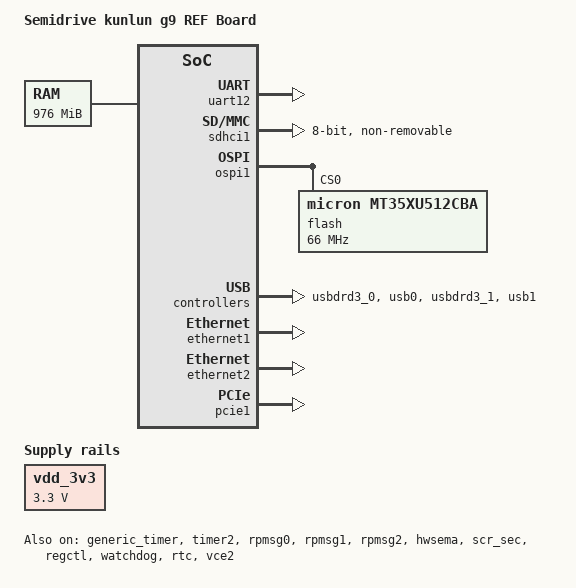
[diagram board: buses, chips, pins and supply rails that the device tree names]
/*
 * Semidrive G9 platform DTS file
 *
 * Copyright (C) 2019, Semidrive  Communications Inc.
 *
 * This file is licensed under a dual GPLv2 or X11 license.
 */

/dts-v1/;

#include "g9x_ap.dtsi"
#include "g9x_ref-clk-ctrl.dtsi"
#include <dt-bindings/pinctrl/pins-sdx9.h>
#include <dt-bindings/memmap/g9x/projects/default/image_cfg.h>
#include <dt-bindings/memory/sdrv_ion.h>
#include <dt-bindings/rpmsg/sd,g9x-default.h>

/ {
	model = "Semidrive kunlun g9 REF Board";

	compatible = "semidrive,kunlun";

	aliases {
		serial0 = &uart12;
		serial1 = &uart11;
		ethernet1 = &ethernet1;
		ethernet2 = &ethernet2;
	};

	memory@50000000 {
		device_type = "memory";
		reg = <0 0x43000000 0 0x3d000000>;
	};

	reserved-memory {
		#address-cells = <2>;
		#size-cells = <2>;
		ranges;

		/* Default Common CMA Pool */
		/* QUIRK: Must be kept in the lower 4096 MiBs of DRAM banks for VE */
		linux,cma {
			compatible = "shared-dma-pool";
			reusable;
			size = <0x0 0x1bc00000>;
			/* 4GB maximum in case of 32-bit only capable devices */
			alloc-ranges = <0x0 0x0 0x0 0xffffffff>;
			linux,cma-default;
		};

		rproc_0_safety: rproc@0 {
			compatible = "shared-dma-pool";
			no-map;
			reg = <0x0 RPMSG0_MEM_POOL_BASE 0x0 RPMSG0_MEM_POOL_SIZE>;
		};

		rproc_1_secure: rproc@1 {
			compatible = "shared-dma-pool";
			no-map;
			reg = <0x0 RPMSG1_MEM_POOL_BASE 0x0 RPMSG1_MEM_POOL_SIZE>;
		};

		rproc_2_mpc: rproc@2 {
				compatible = "shared-dma-pool";
				no-map;
				reg = <0x0 RPMSG2_MEM_POOL_BASE 0x0 RPMSG2_MEM_POOL_SIZE>;
		};
	};

	chosen {
		bootargs = "skip_initramfs noinitrd root=/dev/mmcblk0p8 rootfstype=ext4 rootwait rw init=/sbin/init highres=1 nr_cpus=1 earlycon loglevel=4 console=ttyS0,115200n8 pci=nomsi";
		stdout-path = "serial0";
	};

	vdd_3v3: fixed-vdd_3v3 {
		compatible = "regulator-fixed";
		regulator-name = "vdd_3v3";
		regulator-min-microvolt = <3300000>;
		regulator-max-microvolt = <3300000>;
	};
};

&dmac6 {
	status = "okay";
};
&dmac7 {
	status = "disabled";
};


&afe_i2s_sc3{
	dmas = <&dmac7 X9_DMA_SLV_ID_I2S_SC4_TX>, <&dmac7 X9_DMA_SLV_ID_I2S_SC4_RX>;
	dma-names = "tx", "rx";
	status = "disabled";
};

&i2c7 {
	status = "disabled";
};

&i2c8 {
	status = "disabled";
};

&i2c9 {
	status = "disabled";
};

&spi4 {
	status = "disabled";
};

&spi5 {
	status = "disabled";
};

&spi6 {
	status = "disabled";
};

&spi7 {
	status = "disabled";
};

&uart11 {
	dmas = <&dmac6 X9_DMA_SLV_ID_UART12_TX>, <&dmac6 X9_DMA_SLV_ID_UART12_RX>;
	dma-names = "tx", "rx";
	status = "disabled";
};

&uart12 {
	dmas = <&dmac6 X9_DMA_SLV_ID_UART13_TX>, <&dmac6 X9_DMA_SLV_ID_UART13_RX>;
	dma-names = "tx", "rx";
	status = "okay";
};

&generic_timer {
	interrupts = <1 13 (GIC_CPU_MASK_SIMPLE(1) | IRQ_TYPE_LEVEL_LOW)>,
		<1 14 (GIC_CPU_MASK_SIMPLE(1) | IRQ_TYPE_LEVEL_LOW)>,
		<1 11 (GIC_CPU_MASK_SIMPLE(1) | IRQ_TYPE_LEVEL_LOW)>,
		<1 10 (GIC_CPU_MASK_SIMPLE(1) | IRQ_TYPE_LEVEL_LOW)>;
	status = "okay";
};

&timer2 {
	/*
	* op-mode options:
	* 0 or No such item : timer
	*                 1 : pwm-capture
	*/
	op-mode = <1>;
	sd,capture-num-chan = <1>;     //pwm capture channel
	status = "okay";
};

&pinctrl {
	reg = <0x0 0x38500000 0x0 0x10000>;
};

&sdhci1 {
	bus-width = <8>;
	non-removable;
	no-sdio;
	no-sd;
	card-is-emmc;
	disable-wp;
	cap-mmc-highspeed;
	keep-power-in-suspend;
	mmc-ddr-1_8v;
	mmc-hs200-1_8v;
	mmc-hs400-1_8v;
	mmc-hs400-enhanced-strobe;
	status = "okay";
};

&ospi1 {
	status = "okay";

	flash@0 {
		#address-cells = <1>;
		#size-cells = <1>;
		compatible = "micron,mt35xu512cba", "jedec,spi-nor";
		reg = <0>;
		spi-max-frequency = <66000000>;

		m25p,fast-read;
		cdns,page-size = <256>;
		cdns,block-size = <16>;
		cdns,read-delay = <1>;
		cdns,tshsl-ns = <50>;
		cdns,tsd2d-ns = <50>;
		cdns,tchsh-ns = <4>;
		cdns,tslch-ns = <4>;
	};
};

&mbox {
	status = "okay";
};

&rpmsg0 {
	memory-region = <&rproc_0_safety>;
	reg = <0x0 RPMSG0_MEM_HEAD_BASE 0x0 RPMSG0_MEM_HEAD_SIZE>;
	status = "okay";
};

&rpmsg1 {
	memory-region = <&rproc_1_secure>;
	reg = <0x0 RPMSG1_MEM_HEAD_BASE 0x0 RPMSG1_MEM_HEAD_SIZE>;
	status = "okay";
};

&rpmsg2 {
	memory-region = <&rproc_2_mpc>;
	reg = <0x0 RPMSG2_MEM_HEAD_BASE 0x0 RPMSG2_MEM_HEAD_SIZE>;
	status = "okay";
};

&ipcc0 {
	status = "okay";
};

&ipcc1 {
        status = "okay";
};

&usbdrd3_0 {
	status = "okay";
};

&usb0 {
	status = "okay";
};

&usbdrd3_1 {
	status = "okay";
};

&usb1 {
	status = "okay";
};

&ethernet1 {
	status = "okay";
};

&eth_phy2 {
	maximum-speed = "1000M-speed";
};

&ethernet2 {
	status = "okay";
};

&hwsema {
	status = "okay";
};

&scr_sec {
	status = "okay";
};

&pcie1 {
	status = "okay";
};

&regctl {
	status = "okay";
};

&watchdog {
	wdt,auto-run = "false";
	status = "okay";
};

&rtc {
	status = "okay";
};

&vce2 {
   /*
 	* op-mode options:
 	* bit 0: rng enable(1) or disable(0)
 	* bit 1: ce enable(1) or disable(0)
 	*/
 	op-mode = <3>;
	status = "okay";
};
